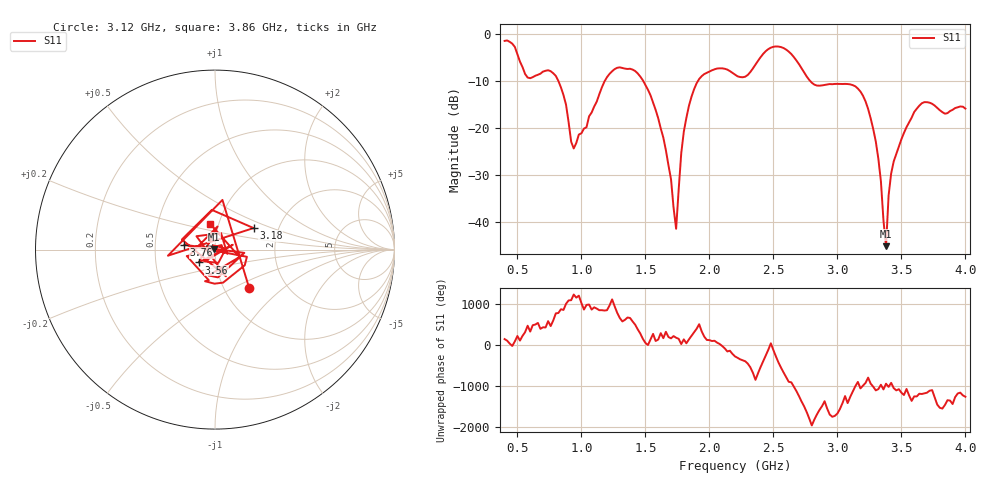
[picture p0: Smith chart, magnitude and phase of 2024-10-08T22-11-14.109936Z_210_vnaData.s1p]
! Created with skrf (http://scikit-rf.org).
# Hz S RI R 50.0
!freq ReS11 ImS11
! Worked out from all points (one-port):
!   181 points, 400 MHz to 4 GHz, reference 50 ohm
!   lowest |S11| = -45.1 dB at 3.38 GHz (marker M1), VSWR 1.01, Z = 49.6 + j0.326 ohm
!   |S11| at or under -10 dB: 821.1 MHz to 1.181 GHz (359.8 MHz wide, 35.9 % of centre); 1.485 GHz to 1.909 GHz (424.7 MHz wide, 25 % of centre); 2.79 GHz to end of sweep
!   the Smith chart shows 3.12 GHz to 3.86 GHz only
!   S11 on the Smith chart (normalised r, x): 3.12 GHz: 1.31, -0.61; 3.18 GHz: 1.49, +0.38; 3.56 GHz: 0.83, -0.12; 3.76 GHz: 0.71, +0.04; 3.86 GHz: 0.91, +0.27
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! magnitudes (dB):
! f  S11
! 400 MHz  -1.4
! 580 MHz  -9.2
! 760 MHz  -7.8
! 860 MHz  -12.9
! 940 MHz  -24.3
! 1.3 GHz  -7.0
! 1.44 GHz  -8.3
! 1.58 GHz  -16.1
! 1.7 GHz  -30.8
! 1.74 GHz  -41.4
! 1.76 GHz  -33.0
! 1.8 GHz  -20.7
! 1.9 GHz  -10.4
! 2.2 GHz  -8.6
! 2.5 GHz  -2.7
! 2.66 GHz  -4.8
! 2.82 GHz  -10.7
! 3.1 GHz  -10.6
! 3.12 GHz  -10.8
! 3.18 GHz  -12.2
! 3.3 GHz  -22.8
! 3.38 GHz  -45.1
! 3.4 GHz  -34.3
! 3.42 GHz  -29.6
! 3.56 GHz  -18.8
! 3.76 GHz  -15.2
! 3.86 GHz  -16.8
! 4 GHz  -15.8
